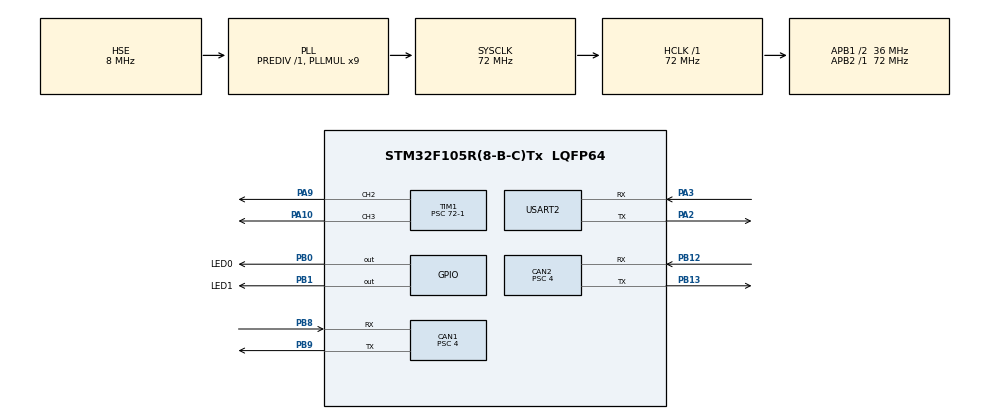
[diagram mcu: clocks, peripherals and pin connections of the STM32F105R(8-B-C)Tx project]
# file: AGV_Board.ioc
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CAN1.ABOM=ENABLE
CAN1.BS1=CAN_BS1_5TQ
CAN1.BS2=CAN_BS2_3TQ
CAN1.CalculateBaudRate=1000000
CAN1.CalculateTimeBit=1000
CAN1.CalculateTimeQuantum=111.11111111111111
CAN1.Mode=CAN_MODE_NORMAL
CAN1.Prescaler=4
CAN2.ABOM=ENABLE
CAN2.AWUM=ENABLE
CAN2.BS1=CAN_BS1_3TQ
CAN2.BS2=CAN_BS2_5TQ
CAN2.CalculateBaudRate=1000000
CAN2.CalculateTimeBit=1000
CAN2.CalculateTimeQuantum=111.11111111111111
CAN2.Prescaler=4
Dma.Request0=USART2_RX
Dma.Request1=USART2_TX
Dma.USART2_RX.0.Direction=DMA_PERIPH_TO_MEMORY
Dma.USART2_RX.0.Instance=DMA1_Channel6
Dma.USART2_RX.0.MemDataAlignment=DMA_MDATAALIGN_BYTE
Dma.USART2_RX.0.MemInc=DMA_MINC_ENABLE
Dma.USART2_RX.0.Mode=DMA_NORMAL
Dma.USART2_RX.0.PeriphDataAlignment=DMA_PDATAALIGN_BYTE
Dma.USART2_RX.0.PeriphInc=DMA_PINC_DISABLE
Dma.USART2_RX.0.Priority=DMA_PRIORITY_HIGH
Dma.USART2_TX.1.Direction=DMA_MEMORY_TO_PERIPH
Dma.USART2_TX.1.Instance=DMA1_Channel7
Dma.USART2_TX.1.MemDataAlignment=DMA_MDATAALIGN_BYTE
Dma.USART2_TX.1.MemInc=DMA_MINC_ENABLE
Dma.USART2_TX.1.Mode=DMA_NORMAL
Dma.USART2_TX.1.PeriphDataAlignment=DMA_PDATAALIGN_BYTE
Dma.USART2_TX.1.PeriphInc=DMA_PINC_DISABLE
Dma.USART2_TX.1.Priority=DMA_PRIORITY_HIGH
Mcu.Family=STM32F1
Mcu.Name=STM32F105R(8-B-C)Tx
Mcu.Package=LQFP64
NVIC.CAN1_RX0_IRQn=true\:0\:0\:false\:false\:true\:true\:true\:true
NVIC.CAN1_RX1_IRQn=true\:0\:0\:false\:false\:true\:true\:true\:true
NVIC.CAN2_RX0_IRQn=true\:0\:0\:false\:false\:true\:true\:true\:true
NVIC.CAN2_RX1_IRQn=true\:0\:0\:false\:false\:true\:true\:true\:true
NVIC.DMA1_Channel6_IRQn=true\:0\:0\:false\:false\:true\:false\:true\:true
NVIC.DMA1_Channel7_IRQn=true\:0\:0\:false\:false\:true\:false\:true\:true
NVIC.PriorityGroup=NVIC_PRIORITYGROUP_4
NVIC.TIM1_UP_IRQn=true\:0\:0\:false\:false\:true\:true\:true\:true
NVIC.TIM3_IRQn=true\:0\:0\:false\:false\:true\:true\:true\:true
PA10.Signal=S_TIM1_CH3
PA13.Mode=Serial_Wire
PA13.Signal=SYS_JTMS-SWDIO
PA14.Mode=Serial_Wire
PA14.Signal=SYS_JTCK-SWCLK
PA2.Mode=Asynchronous
PA2.Signal=USART2_TX
PA3.GPIO_PuPd=GPIO_NOPULL
PA3.Mode=Asynchronous
PA3.Signal=USART2_RX
PA9.Signal=S_TIM1_CH2
PB0.GPIO_Label=LED0
PB0.GPIO_PuPd=GPIO_PULLDOWN
PB0.PinState=GPIO_PIN_RESET
PB0.Signal=GPIO_Output
PB1.GPIO_Label=LED1
PB1.GPIO_PuPd=GPIO_PULLDOWN
PB1.PinState=GPIO_PIN_RESET
PB1.Signal=GPIO_Output
PB12.Mode=CAN_Activate
PB12.Signal=CAN2_RX
PB13.Mode=CAN_Activate
PB13.Signal=CAN2_TX
PB8.Mode=CAN_Activate
PB8.Signal=CAN1_RX
PB9.Mode=CAN_Activate
PB9.Signal=CAN1_TX
PD0-OSC_IN.Mode=HSE-External-Oscillator
PD0-OSC_IN.Signal=RCC_OSC_IN
PD1-OSC_OUT.Mode=HSE-External-Oscillator
PD1-OSC_OUT.Signal=RCC_OSC_OUT
ProjectManager.HeapSize=0x200
ProjectManager.StackSize=0x400
ProjectManager.TargetToolchain=MDK-ARM V5.32
RCC.AHBFreq_Value=72000000
RCC.APB1CLKDivider=RCC_HCLK_DIV2
RCC.APB1Freq_Value=36000000
RCC.APB1TimFreq_Value=72000000
RCC.APB2Freq_Value=72000000
RCC.APB2TimFreq_Value=72000000
RCC.HCLKFreq_Value=72000000
RCC.PLLMUL=RCC_PLL_MUL9
RCC.PLLSourceVirtual=RCC_PLLSOURCE_HSE
RCC.SYSCLKFreq_VALUE=72000000
RCC.SYSCLKSource=RCC_SYSCLKSOURCE_PLLCLK
RCC.USBFreq_Value=48000000
SH.S_TIM1_CH2.0=TIM1_CH2,PWM Generation2 CH2
SH.S_TIM1_CH3.0=TIM1_CH3,PWM Generation3 CH3
STMicroelectronics.X-CUBE-ALGOBUILD.1.4.0.LibraryCcDSPOoLibraryJjDSPOoLibrary=true
TIM1.AutoReloadPreload=TIM_AUTORELOAD_PRELOAD_ENABLE
TIM1.Channel-PWM\ Generation2\ CH2=TIM_CHANNEL_2
TIM1.Channel-PWM\ Generation3\ CH3=TIM_CHANNEL_3
TIM1.Period=1000-1
TIM1.Prescaler=72-1
TIM3.Period=1000
TIM3.Prescaler=72
USART2.VirtualMode=VM_ASYNC
VP_STMicroelectronics.X-CUBE-ALGOBUILD_VS_DSPOoLibraryJjLibrary_1.4.0_1.4.0.Mode=DSPOoLibraryJjLibrary
VP_TIM1_VS_ClockSourceINT.Mode=Internal
VP_TIM3_VS_ClockSourceINT.Mode=Internal
board=custom

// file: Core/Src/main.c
/* USER CODE BEGIN Header */
/**
  ******************************************************************************
  * @file           : main.c
  * @brief          : Main program body
  ******************************************************************************
  * @attention
  *
  * Copyright (c) 2023 STMicroelectronics.
  * All rights reserved.
  *
  * This software is licensed under terms that can be found in the LICENSE file
  * in the root directory of this software component.
  * If no LICENSE file comes with this software, it is provided AS-IS.
  *
  ******************************************************************************
  */
/* USER CODE END Header */
#include "main.h"
#include "can.h"
#include "dma.h"
#include "tim.h"
#include "usart.h"
#include "gpio.h"

/* USER CODE BEGIN Includes */
#include "M3508.h"
#include "M3508_gear.h"
#include "briter_encoder.h"
#include "SW_control_task.h"
#include "buzzer.h"
/* USER CODE END Includes */

void SystemClock_Config(void);

/* USER CODE BEGIN 0 */

void canTX(void)
{
	uint8_t data[8];
	uint8_t status;
	CAN_TxHeaderTypeDef CAN_TxHeaderStruct;
	uint32_t  pTxMailbox;

    CAN_TxHeaderStruct.StdId=0x200;
    CAN_TxHeaderStruct.ExtId=0;
    CAN_TxHeaderStruct.DLC=8;
    CAN_TxHeaderStruct.IDE=CAN_ID_STD;
    CAN_TxHeaderStruct.RTR=CAN_RTR_DATA;
    CAN_TxHeaderStruct.TransmitGlobalTime=DISABLE;

	data[0] = 0xFF;
	data[1] = 0x01;
	data[2] = 0xFF;
	data[3] = 0x01;
	data[4] = 0xFF;
	data[5] = 0x01;
	data[6] = 0xFF;
	data[7] = 0x01;

	status = HAL_CAN_AddTxMessage(&hcan1,&CAN_TxHeaderStruct,data,&pTxMailbox);
	status = HAL_CAN_AddTxMessage(&hcan2,&CAN_TxHeaderStruct,data,&pTxMailbox);
}

/* USER CODE END 0 */

int main(void)
{

  /* MCU Configuration--------------------------------------------------------*/

  /* Reset of all peripherals, Initializes the Flash interface and the Systick. */
  HAL_Init();

  /* Configure the system clock */
  SystemClock_Config();

  /* Initialize all configured peripherals */
  MX_GPIO_Init();
  MX_DMA_Init();
  MX_CAN1_Init();
  MX_CAN2_Init();
  MX_TIM3_Init();
  MX_TIM1_Init();
  MX_USART2_UART_Init();
  /* USER CODE BEGIN 2 */
  platform_filtter_config_setting();
  HAL_CAN_Start(&hcan1);
  HAL_CAN_Start(&hcan2);
  HAL_CAN_ActivateNotification(&hcan1, CAN_IT_RX_FIFO0_MSG_PENDING);
  HAL_CAN_ActivateNotification(&hcan2, CAN_IT_RX_FIFO0_MSG_PENDING);
	HAL_CAN_ActivateNotification(&hcan1, CAN_IT_RX_FIFO1_MSG_PENDING);
  HAL_CAN_ActivateNotification(&hcan2, CAN_IT_RX_FIFO1_MSG_PENDING);
	buzzer_init_example();
	SW_control_task_init();
	buzzer_setTask(&buzzer,BUZZER_DJI_STARTUP_PRIORITY);
	HAL_TIM_Base_Start_IT(&htim3);
	HAL_TIM_PWM_Start(&htim1, TIM_CHANNEL_3);

 //briter_encoder_set_current_pos_zero_pos(&steering_wheel.directive_part.encoder.briter_encoder);
  /* USER CODE END 2 */

  /* Infinite loop */
  while (1)
  {

    /* USER CODE BEGIN 3 */
		// 目前还懒得丢到定时器中断�?
		//HAL_Delay(4);
//
	   //briter_encoder_set_CAN_ID(&steering_wheel.directive_part.encoder.briter_encoder,0x0D);
		//briter_encoder_set_current_pos_zero_pos(&steering_wheel.directive_part.encoder.briter_encoder);
		//briter_encoder_set_increment_direction(&steering_wheel.directive_part.encoder.briter_encoder,BRITER_ENCODER_INCREMENT_DIRECTION_CW);
  }
  /* USER CODE END 3 */
}

void SystemClock_Config(void)
{
  RCC_OscInitTypeDef RCC_OscInitStruct = {0};
  RCC_ClkInitTypeDef RCC_ClkInitStruct = {0};

  /** Initializes the RCC Oscillators according to the specified parameters
  * in the RCC_OscInitTypeDef structure.
  */
  RCC_OscInitStruct.OscillatorType = RCC_OSCILLATORTYPE_HSE;
  RCC_OscInitStruct.HSEState = RCC_HSE_ON;
  RCC_OscInitStruct.HSEPredivValue = RCC_HSE_PREDIV_DIV1;
  RCC_OscInitStruct.HSIState = RCC_HSI_ON;
  RCC_OscInitStruct.Prediv1Source = RCC_PREDIV1_SOURCE_HSE;
  RCC_OscInitStruct.PLL.PLLState = RCC_PLL_ON;
  RCC_OscInitStruct.PLL.PLLSource = RCC_PLLSOURCE_HSE;
  RCC_OscInitStruct.PLL.PLLMUL = RCC_PLL_MUL9;
  RCC_OscInitStruct.PLL2.PLL2State = RCC_PLL_NONE;
  if (HAL_RCC_OscConfig(&RCC_OscInitStruct) != HAL_OK)
  {
    Error_Handler();
  }

  /** Initializes the CPU, AHB and APB buses clocks
  */
  RCC_ClkInitStruct.ClockType = RCC_CLOCKTYPE_HCLK|RCC_CLOCKTYPE_SYSCLK
                              |RCC_CLOCKTYPE_PCLK1|RCC_CLOCKTYPE_PCLK2;
  RCC_ClkInitStruct.SYSCLKSource = RCC_SYSCLKSOURCE_PLLCLK;
  RCC_ClkInitStruct.AHBCLKDivider = RCC_SYSCLK_DIV1;
  RCC_ClkInitStruct.APB1CLKDivider = RCC_HCLK_DIV2;
  RCC_ClkInitStruct.APB2CLKDivider = RCC_HCLK_DIV1;

  if (HAL_RCC_ClockConfig(&RCC_ClkInitStruct, FLASH_LATENCY_2) != HAL_OK)
  {
    Error_Handler();
  }

  /** Configure the Systick interrupt time
  */
  __HAL_RCC_PLLI2S_ENABLE();
}

void Error_Handler(void)
{
  __disable_irq();
  while (1)
  {
  }
}
